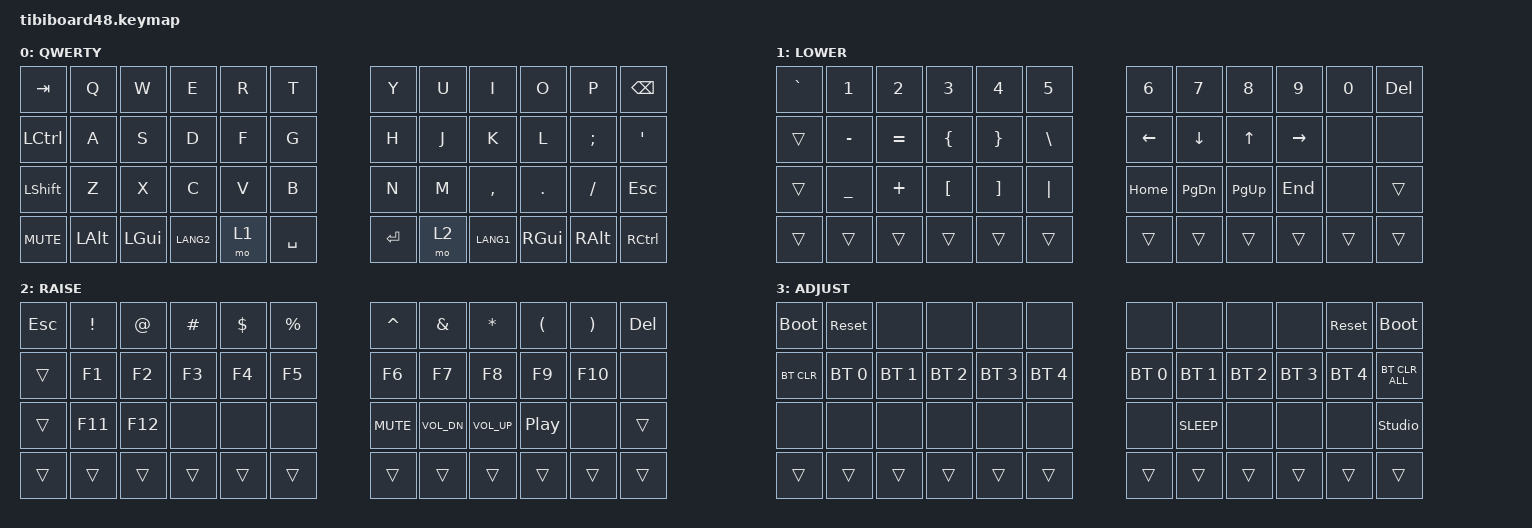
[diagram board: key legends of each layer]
#include <behaviors.dtsi>
#include <dt-bindings/zmk/keys.h>
#include <dt-bindings/zmk/bt.h>

/ {
    /* 左手Lower(mo 1)と右手Raise(mo 2)を同時押しした時にAdjustレイヤー(3)へ飛ぶ設定 */
    conditional_layers {
        compatible = "zmk,conditional-layers";
        adjust_layer {
            if-layers = <1 2>;
            then-layer = <3>;
        };
    };

    keymap {
        compatible = "zmk,keymap";

        /* レイヤー0: 基本のQWERTY配列 */
        /* エンジニア向けにCtrlやShift、Mac用のLANG1(かな)/LANG2(英数)を使いやすく配置 */
        layer_0 {
            display-name = "QWERTY";
            bindings = <
&kp TAB    &kp Q    &kp W    &kp E      &kp R      &kp T        &kp Y      &kp U      &kp I      &kp O    &kp P     &kp BSPC
&kp LCTRL  &kp A    &kp S    &kp D      &kp F      &kp G        &kp H      &kp J      &kp K      &kp L    &kp SEMI  &kp SQT
&kp LSHFT  &kp Z    &kp X    &kp C      &kp V      &kp B        &kp N      &kp M      &kp COMMA  &kp DOT  &kp SLASH &kp ESC
&kp C_MUTE &kp LALT &kp LGUI &kp LANG2  &mo 1      &kp SPACE    &kp ENTER  &mo 2      &kp LANG1  &kp RGUI &kp RALT  &kp RCTRL
            >;
        };

        /* レイヤー1: LOWER (数字とプログラミング記号、矢印キー) */
        /* 右手に矢印キー(HJKLの位置)を集約し、左手にカッコ類を配置。コードが書きやすいです */
        layer_1 {
            display-name = "LOWER";
            bindings = <
&kp GRAVE  &kp N1    &kp N2    &kp N3    &kp N4     &kp N5       &kp N6     &kp N7     &kp N8     &kp N9    &kp N0    &kp DEL
&trans     &kp MINUS &kp EQUAL &kp LBRC  &kp RBRC   &kp BSLH     &kp LEFT   &kp DOWN   &kp UP     &kp RIGHT &none     &none
&trans     &kp UNDER &kp PLUS  &kp LBKT  &kp RBKT   &kp PIPE     &kp HOME   &kp PG_DN  &kp PG_UP  &kp END   &none     &trans
&trans     &trans    &trans    &trans    &trans     &trans       &trans     &trans     &trans     &trans    &trans    &trans
            >;
        };

        /* レイヤー2: RAISE (Fキーとシフト記号、メディアコントロール) */
        layer_2 {
            display-name = "RAISE";
            bindings = <
&kp ESC    &kp EXCL  &kp AT    &kp HASH  &kp DLLR   &kp PRCNT    &kp CARET  &kp AMPS   &kp STAR   &kp LPAR  &kp RPAR  &kp DEL
&trans     &kp F1    &kp F2    &kp F3    &kp F4     &kp F5       &kp F6     &kp F7     &kp F8     &kp F9    &kp F10   &none
&trans     &kp F11   &kp F12   &none     &none      &none        &kp C_MUTE &kp C_VOL_DN &kp C_VOL_UP &kp C_PP  &none     &trans
&trans     &trans    &trans    &trans    &trans     &trans       &trans     &trans     &trans     &trans    &trans    &trans
            >;
        };

        /* レイヤー3: ADJUST (システム管理、Bluetooth、ZMK Studio) */
        /* 左親指と右親指のレイヤーキーを「同時押し」した時にこの画面になります */
        layer_3 {
            display-name = "ADJUST";
            bindings = <
&bootloader  &sys_reset   &none        &none        &none        &none          &none        &none        &none        &none        &sys_reset   &bootloader
&bt BT_CLR   &bt BT_SEL 0 &bt BT_SEL 1 &bt BT_SEL 2 &bt BT_SEL 3 &bt BT_SEL 4   &bt BT_SEL 0 &bt BT_SEL 1 &bt BT_SEL 2 &bt BT_SEL 3 &bt BT_SEL 4 &bt BT_CLR_ALL
&none        &none        &none        &none        &none        &none          &none        &kp C_SLEEP  &none        &none        &none        &studio_unlock
&trans       &trans       &trans       &trans       &trans       &trans         &trans       &trans       &trans       &trans       &trans       &trans
            >;
        };
    };
};
